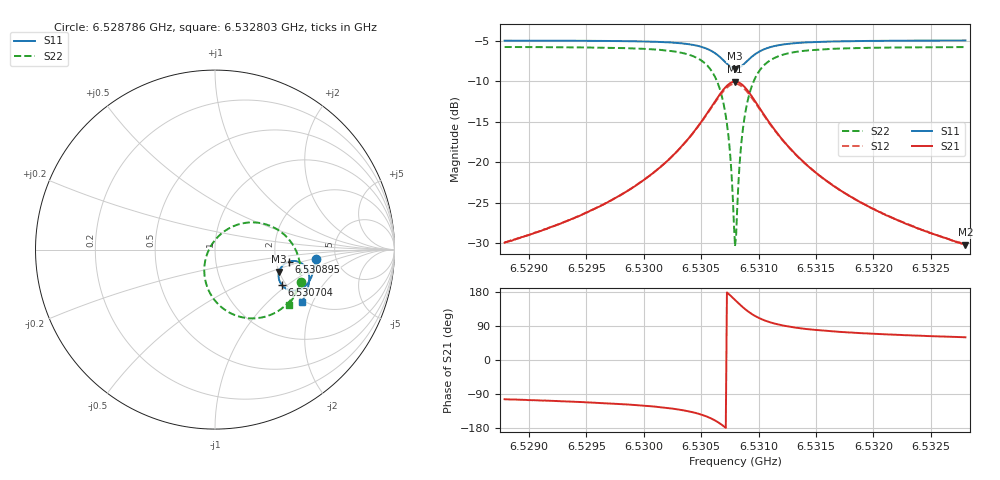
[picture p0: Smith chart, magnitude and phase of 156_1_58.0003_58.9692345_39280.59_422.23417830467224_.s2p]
#  HZ  S  RI  R  50.00
! Rohde & Schwarz Vector Network Analyzer
! Rohde-Schwarz,ZNB20-2Port,1311601062101988,3.16
! Created: UTC 3/21/2024, 12:57:13 AM
! freq[Hz]  re:S11  im:S11  re:S21  im:S21  re:S12  im:S12  re:S22  im:S22
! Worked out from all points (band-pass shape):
!   401 points, 6.528786 GHz to 6.532803 GHz, reference 50 ohm
!   highest |S21| = -10.04 dB at 6.530794 GHz (marker M1); lowest = -30.2 dB at 6.532803 GHz (marker M2)
!   |S21| within 3 dB of the highest: 6.530594 GHz to 6.530996 GHz (401.9 kHz wide, 0.00615 % of centre)
!   lowest |S11| = -8.5 dB at 6.530794 GHz (marker M3), VSWR 2.22, Z = 100 - j28.9 ohm
!   |S11| at or under -10 dB: nowhere
!   |S22| runs from -30.4 to -5.8 dB; largest |S21 - S12| = 0.013
!   S11 on the Smith chart (normalised r, x): 6.528786 GHz: 3.49, -0.53; 6.530704 GHz: 1.90, -0.90; 6.530895 GHz: 2.36, -0.38; 6.532803 GHz: 1.95, -1.66
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6.5287862e9  0.5606 -0.0519  -0.00742 -0.031  -0.00814 -0.0308  0.4813 -0.1814
6.5294589e9  0.5512 -0.1086  -0.017 -0.0442  -0.0181 -0.044  0.4492 -0.2442
6.5298305e9  0.5407 -0.1438  -0.0292 -0.0577  -0.0308 -0.057  0.4161 -0.288
6.5301317e9  0.524 -0.1773  -0.0514 -0.076  -0.0537 -0.0746  0.3653 -0.3334
6.5303626e9  0.4972 -0.2077  -0.0919 -0.0961  -0.0951 -0.0928  0.2825 -0.3729
6.5305333e9  0.4529 -0.2277  -0.1619 -0.103  -0.1644 -0.0961  0.1534 -0.3777
6.5306337e9  0.407 -0.2229  -0.2334 -0.0764  -0.2326 -0.0662  0.0338 -0.319
6.530704e9  0.3707 -0.1952  -0.286 -0.0165  -0.2801 -0.00589  -0.0434 -0.2079
6.5307442e9  0.3569 -0.1668  -0.3026 0.0378  -0.2933 0.0463  -0.06 -0.115
6.5307844e9  0.3553 -0.1322  -0.2982 0.0997  -0.2865 0.1046  -0.0399 -0.0142
6.5307944e9  0.3572 -0.1236  -0.2929 0.1151  -0.2813 0.1189  -0.0287 0.00969
6.5308044e9  0.3601 -0.1151  -0.2866 0.1297  -0.2749 0.1324  -0.0153 0.0323
6.5308145e9  0.3636 -0.1072  -0.2786 0.1436  -0.2672 0.1453  0.000304 0.0535
6.5308346e9  0.3733 -0.0926  -0.2592 0.1683  -0.2483 0.1683  0.0369 0.0903
6.5308546e9  0.3855 -0.081  -0.2363 0.1882  -0.2265 0.1866  0.0783 0.1184
6.5308948e9  0.4129 -0.0667  -0.1863 0.2122  -0.1789 0.209  0.1651 0.1483
6.5309651e9  0.4571 -0.0657  -0.109 0.2146  -0.1052 0.2113  0.295 0.1369
6.5310655e9  0.4961 -0.0875  -0.0423 0.183  -0.0404 0.1813  0.4023 0.0673
6.5312161e9  0.5192 -0.1235  -0.00183 0.1355  -0.000578 0.1348  0.4611 -0.03
6.5314671e9  0.5254 -0.1673  0.0153 0.0885  0.0165 0.0883  0.4755 -0.1292
6.5321399e9  0.5091 -0.2385  0.0178 0.0425  0.0187 0.0424  0.4469 -0.2465
6.5328026e9  0.4849 -0.2894  0.0155 0.0268  0.0161 0.0266  0.4125 -0.3065
